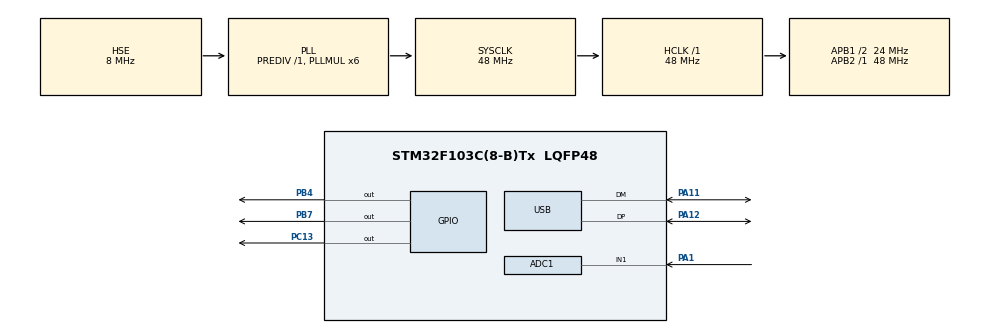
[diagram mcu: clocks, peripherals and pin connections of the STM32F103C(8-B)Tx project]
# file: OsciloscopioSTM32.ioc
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ADC1.Channel-3\#ChannelRegularConversion=ADC_CHANNEL_1
ADC1.ContinuousConvMode=ENABLE
ADC1.DataAlign=ADC_DATAALIGN_RIGHT
ADC1.EnableInjectedConversion=DISABLE
ADC1.ExternalTrigConv=ADC_SOFTWARE_START
ADC1.NbrOfConversion=1
ADC1.NbrOfConversionFlag=1
ADC1.Rank-3\#ChannelRegularConversion=1
ADC1.SamplingTime-3\#ChannelRegularConversion=ADC_SAMPLETIME_13CYCLES_5
ADC1.master=1
Dma.ADC1.0.Direction=DMA_PERIPH_TO_MEMORY
Dma.ADC1.0.Instance=DMA1_Channel1
Dma.ADC1.0.MemDataAlignment=DMA_MDATAALIGN_HALFWORD
Dma.ADC1.0.MemInc=DMA_MINC_ENABLE
Dma.ADC1.0.Mode=DMA_CIRCULAR
Dma.ADC1.0.PeriphDataAlignment=DMA_PDATAALIGN_HALFWORD
Dma.ADC1.0.PeriphInc=DMA_PINC_DISABLE
Dma.ADC1.0.Priority=DMA_PRIORITY_LOW
Dma.Request0=ADC1
Mcu.Family=STM32F1
Mcu.Name=STM32F103C(8-B)Tx
Mcu.Package=LQFP48
NVIC.DMA1_Channel1_IRQn=true\:0\:0\:false\:false\:true\:false\:true
NVIC.PriorityGroup=NVIC_PRIORITYGROUP_4
NVIC.TIM2_IRQn=true\:0\:0\:false\:false\:true\:true\:true
NVIC.USB_LP_CAN1_RX0_IRQn=true\:0\:0\:false\:false\:true\:false\:true
PA1.Signal=ADCx_IN1
PA11.Mode=Device
PA11.Signal=USB_DM
PA12.Mode=Device
PA12.Signal=USB_DP
PA13.Mode=Serial_Wire
PA13.Signal=SYS_JTMS-SWDIO
PA14.Mode=Serial_Wire
PA14.Signal=SYS_JTCK-SWCLK
PB4.Signal=GPIO_Output
PB7.Signal=GPIO_Output
PC13-TAMPER-RTC.GPIO_Speed=GPIO_SPEED_FREQ_HIGH
PC13-TAMPER-RTC.PinState=GPIO_PIN_SET
PC13-TAMPER-RTC.Signal=GPIO_Output
PD0-OSC_IN.Mode=HSE-External-Oscillator
PD0-OSC_IN.Signal=RCC_OSC_IN
PD1-OSC_OUT.Mode=HSE-External-Oscillator
PD1-OSC_OUT.Signal=RCC_OSC_OUT
ProjectManager.HeapSize=0x200
ProjectManager.StackSize=0x400
ProjectManager.TargetToolchain=STM32CubeIDE
RCC.ADCPresc=RCC_ADCPCLK2_DIV4
RCC.AHBFreq_Value=48000000
RCC.APB1CLKDivider=RCC_HCLK_DIV2
RCC.APB1Freq_Value=24000000
RCC.APB1TimFreq_Value=48000000
RCC.APB2Freq_Value=48000000
RCC.APB2TimFreq_Value=48000000
RCC.FLatency-AdvancedSettings=FLASH_LATENCY_1
RCC.HCLKFreq_Value=48000000
RCC.PLLMUL=RCC_PLL_MUL6
RCC.SYSCLKFreq_VALUE=48000000
RCC.SYSCLKSource=RCC_SYSCLKSOURCE_PLLCLK
RCC.USBFreq_Value=48000000
SH.ADCx_IN1.0=ADC1_IN1,IN1
TIM2.AutoReloadPreload=TIM_AUTORELOAD_PRELOAD_ENABLE
TIM2.Period=39
TIM2.Prescaler=48000
USB_DEVICE.CLASS_NAME_FS=CDC
USB_DEVICE.MANUFACTURER_STRING=Medidas 2
USB_DEVICE.PRODUCT_STRING_CDC_FS=Oscilocopio ComPort
USB_DEVICE.VirtualMode=Cdc
USB_DEVICE.VirtualModeFS=Cdc_FS
VP_TIM2_VS_ClockSourceINT.Mode=Internal
VP_USB_DEVICE_VS_USB_DEVICE_CDC_FS.Mode=CDC_FS
board=custom

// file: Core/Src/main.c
/* USER CODE BEGIN Header */
/**
  ******************************************************************************
  * @file           : main.c
  * @brief          : Main program body
  ******************************************************************************
  * @attention
  *
  * <h2><center>&copy; Copyright (c) 2020 STMicroelectronics.
  * All rights reserved.</center></h2>
  *
  * This software component is licensed by ST under BSD 3-Clause license,
  * the "License"; You may not use this file except in compliance with the
  * License. You may obtain a copy of the License at:
  *                        opensource.org/licenses/BSD-3-Clause
  *
  ******************************************************************************
  */
/* USER CODE END Header */
#include "main.h"
#include "usb_device.h"

/* USER CODE BEGIN PTD */
#define  FIFO_SIZE 64  // must be 2^N
#define FIFO_INCR(x) (((x)+1)&((FIFO_SIZE)-1))

/* Structure of FIFO */
typedef struct FIFO
{
	uint32_t head;
	uint32_t tail;
		uint8_t data[FIFO_SIZE];
} FIFO;
/* USER CODE END PTD */

/* USER CODE BEGIN PD */
#define NUM_SAMPLES 5000
#define NUM_SAMPLES_PLUS_ONE (NUM_SAMPLES + 1)
#define RX_DATA_BYTES 4
/* USER CODE END PD */

ADC_HandleTypeDef hadc1;
DMA_HandleTypeDef hdma_adc1;

TIM_HandleTypeDef htim2;

/* USER CODE BEGIN PV */
uint16_t adcSamples[NUM_SAMPLES_PLUS_ONE];
uint16_t triggerLevel;
uint32_t time;
uint8_t mode = 0; //1:MODO LIBRE, 2:MODO TRIGGER

FIFO RX_FIFO = {.head=0, .tail=0};
uint8_t rxBuffer[RX_DATA_BYTES];
/* USER CODE END PV */

void SystemClock_Config(void);
static void MX_GPIO_Init(void);
static void MX_DMA_Init(void);
static void MX_ADC1_Init(void);
static void MX_TIM2_Init(void);
/* USER CODE BEGIN PFP */

uint8_t VCP_read(uint8_t* Buf, uint32_t Len) {
	uint32_t count=0;
	/* Check inputs */
	if ((Buf == NULL) || (Len == 0))
		return 0;

	while (Len--) {
		if (RX_FIFO.head==RX_FIFO.tail)
			return count;
		count++;
		*Buf++=RX_FIFO.data[RX_FIFO.tail];
		RX_FIFO.tail=FIFO_INCR(RX_FIFO.tail);
	}

	return count;
}

void HAL_TIM_PeriodElapsedCallback(TIM_HandleTypeDef *htim) {
	HAL_GPIO_WritePin(GPIOC, GPIO_PIN_13, GPIO_PIN_RESET);
	CDC_Transmit_FS((uint8_t *)adcSamples, NUM_SAMPLES_PLUS_ONE*2);
	HAL_GPIO_WritePin(GPIOC, GPIO_PIN_13, GPIO_PIN_SET);
}

/* USER CODE END PFP */

int main(void)
{
  /* USER CODE BEGIN 1 */
  adcSamples[NUM_SAMPLES] = (uint16_t)'\n';
  /* USER CODE END 1 */

  /* MCU Configuration--------------------------------------------------------*/

  /* Reset of all peripherals, Initializes the Flash interface and the Systick. */
  HAL_Init();

  /* Configure the system clock */
  SystemClock_Config();

  /* Initialize all configured peripherals */
  MX_GPIO_Init();
  MX_DMA_Init();
  MX_ADC1_Init();
  MX_TIM2_Init();
  MX_USB_DEVICE_Init();
  /* USER CODE BEGIN 2 */

  HAL_ADC_Start_DMA(&hadc1, (uint32_t *)adcSamples, NUM_SAMPLES);

  time = HAL_GetTick();
  /* USER CODE END 2 */

  /* Infinite loop */
  /* USER CODE BEGIN WHILE */
  while (1)
  {
	VCP_read(rxBuffer, RX_DATA_BYTES);

	if (rxBuffer[RX_DATA_BYTES - 2] == '\n' || rxBuffer[RX_DATA_BYTES - 1] == '\n') {
		switch(rxBuffer[0]){
			case '1': //MODO LIBRE
				HAL_TIM_Base_Start_IT(&htim2);
				mode = 1;
				break;
			case '2': //MODO TRIGGER
				triggerLevel = ((uint16_t)rxBuffer[2] << 8) | rxBuffer[1];
				HAL_TIM_Base_Stop(&htim2);
				mode = 2;
				time = HAL_GetTick();
				break;
			case '3':
				HAL_GPIO_WritePin(GPIOB, GPIO_PIN_4, (rxBuffer[1])? 1 : 0);
				break;
			case '4':
				HAL_GPIO_WritePin(GPIOB, GPIO_PIN_7, (rxBuffer[1])? 1 : 0);
			case '5':
				HAL_TIM_Base_Stop(&htim2);
				break;
			default:
				break;
		}
		for (int i=0; i<RX_DATA_BYTES; i++)
			rxBuffer[i] = 0;
	}

	//MODO LIBRE
	if (mode == 2 && HAL_GetTick() >= (time + 40)) {
		if (adcSamples[(uint16_t)(NUM_SAMPLES/2)] >= triggerLevel){
			CDC_Transmit_FS((uint8_t *)adcSamples, NUM_SAMPLES_PLUS_ONE*2);
			time = HAL_GetTick();
		}
	}
  }
    /* USER CODE END WHILE */

}

void SystemClock_Config(void)
{
  RCC_OscInitTypeDef RCC_OscInitStruct = {0};
  RCC_ClkInitTypeDef RCC_ClkInitStruct = {0};
  RCC_PeriphCLKInitTypeDef PeriphClkInit = {0};

  /** Initializes the RCC Oscillators according to the specified parameters
  * in the RCC_OscInitTypeDef structure.
  */
  RCC_OscInitStruct.OscillatorType = RCC_OSCILLATORTYPE_HSE;
  RCC_OscInitStruct.HSEState = RCC_HSE_ON;
  RCC_OscInitStruct.HSEPredivValue = RCC_HSE_PREDIV_DIV1;
  RCC_OscInitStruct.HSIState = RCC_HSI_ON;
  RCC_OscInitStruct.PLL.PLLState = RCC_PLL_ON;
  RCC_OscInitStruct.PLL.PLLSource = RCC_PLLSOURCE_HSE;
  RCC_OscInitStruct.PLL.PLLMUL = RCC_PLL_MUL6;
  if (HAL_RCC_OscConfig(&RCC_OscInitStruct) != HAL_OK)
  {
    Error_Handler();
  }
  /** Initializes the CPU, AHB and APB buses clocks
  */
  RCC_ClkInitStruct.ClockType = RCC_CLOCKTYPE_HCLK|RCC_CLOCKTYPE_SYSCLK
                              |RCC_CLOCKTYPE_PCLK1|RCC_CLOCKTYPE_PCLK2;
  RCC_ClkInitStruct.SYSCLKSource = RCC_SYSCLKSOURCE_PLLCLK;
  RCC_ClkInitStruct.AHBCLKDivider = RCC_SYSCLK_DIV1;
  RCC_ClkInitStruct.APB1CLKDivider = RCC_HCLK_DIV2;
  RCC_ClkInitStruct.APB2CLKDivider = RCC_HCLK_DIV1;

  if (HAL_RCC_ClockConfig(&RCC_ClkInitStruct, FLASH_LATENCY_1) != HAL_OK)
  {
    Error_Handler();
  }
  PeriphClkInit.PeriphClockSelection = RCC_PERIPHCLK_ADC|RCC_PERIPHCLK_USB;
  PeriphClkInit.AdcClockSelection = RCC_ADCPCLK2_DIV4;
  PeriphClkInit.UsbClockSelection = RCC_USBCLKSOURCE_PLL;
  if (HAL_RCCEx_PeriphCLKConfig(&PeriphClkInit) != HAL_OK)
  {
    Error_Handler();
  }
}

static void MX_ADC1_Init(void)
{

  ADC_ChannelConfTypeDef sConfig = {0};

  /** Common config
  */
  hadc1.Instance = ADC1;
  hadc1.Init.ScanConvMode = ADC_SCAN_DISABLE;
  hadc1.Init.ContinuousConvMode = ENABLE;
  hadc1.Init.DiscontinuousConvMode = DISABLE;
  hadc1.Init.ExternalTrigConv = ADC_SOFTWARE_START;
  hadc1.Init.DataAlign = ADC_DATAALIGN_RIGHT;
  hadc1.Init.NbrOfConversion = 1;
  if (HAL_ADC_Init(&hadc1) != HAL_OK)
  {
    Error_Handler();
  }
  /** Configure Regular Channel
  */
  sConfig.Channel = ADC_CHANNEL_1;
  sConfig.Rank = ADC_REGULAR_RANK_1;
  sConfig.SamplingTime = ADC_SAMPLETIME_13CYCLES_5;
  if (HAL_ADC_ConfigChannel(&hadc1, &sConfig) != HAL_OK)
  {
    Error_Handler();
  }

}

static void MX_TIM2_Init(void)
{

  TIM_ClockConfigTypeDef sClockSourceConfig = {0};
  TIM_MasterConfigTypeDef sMasterConfig = {0};

  htim2.Instance = TIM2;
  htim2.Init.Prescaler = 48000;
  htim2.Init.CounterMode = TIM_COUNTERMODE_UP;
  htim2.Init.Period = 39;
  htim2.Init.ClockDivision = TIM_CLOCKDIVISION_DIV1;
  htim2.Init.AutoReloadPreload = TIM_AUTORELOAD_PRELOAD_ENABLE;
  if (HAL_TIM_Base_Init(&htim2) != HAL_OK)
  {
    Error_Handler();
  }
  sClockSourceConfig.ClockSource = TIM_CLOCKSOURCE_INTERNAL;
  if (HAL_TIM_ConfigClockSource(&htim2, &sClockSourceConfig) != HAL_OK)
  {
    Error_Handler();
  }
  sMasterConfig.MasterOutputTrigger = TIM_TRGO_RESET;
  sMasterConfig.MasterSlaveMode = TIM_MASTERSLAVEMODE_DISABLE;
  if (HAL_TIMEx_MasterConfigSynchronization(&htim2, &sMasterConfig) != HAL_OK)
  {
    Error_Handler();
  }

}

static void MX_DMA_Init(void)
{

  /* DMA controller clock enable */
  __HAL_RCC_DMA1_CLK_ENABLE();

  /* DMA interrupt init */
  /* DMA1_Channel1_IRQn interrupt configuration */
  HAL_NVIC_SetPriority(DMA1_Channel1_IRQn, 0, 0);
  HAL_NVIC_EnableIRQ(DMA1_Channel1_IRQn);

}

static void MX_GPIO_Init(void)
{
  GPIO_InitTypeDef GPIO_InitStruct = {0};

  /* GPIO Ports Clock Enable */
  __HAL_RCC_GPIOC_CLK_ENABLE();
  __HAL_RCC_GPIOD_CLK_ENABLE();
  __HAL_RCC_GPIOA_CLK_ENABLE();
  __HAL_RCC_GPIOB_CLK_ENABLE();

  /*Configure GPIO pin Output Level */
  HAL_GPIO_WritePin(GPIOC, GPIO_PIN_13, GPIO_PIN_SET);

  /*Configure GPIO pin Output Level */
  HAL_GPIO_WritePin(GPIOB, GPIO_PIN_4|GPIO_PIN_7, GPIO_PIN_RESET);

  /*Configure GPIO pin : PC13 */
  GPIO_InitStruct.Pin = GPIO_PIN_13;
  GPIO_InitStruct.Mode = GPIO_MODE_OUTPUT_PP;
  GPIO_InitStruct.Pull = GPIO_NOPULL;
  GPIO_InitStruct.Speed = GPIO_SPEED_FREQ_HIGH;
  HAL_GPIO_Init(GPIOC, &GPIO_InitStruct);

  /*Configure GPIO pins : PB4 PB7 */
  GPIO_InitStruct.Pin = GPIO_PIN_4|GPIO_PIN_7;
  GPIO_InitStruct.Mode = GPIO_MODE_OUTPUT_PP;
  GPIO_InitStruct.Pull = GPIO_NOPULL;
  GPIO_InitStruct.Speed = GPIO_SPEED_FREQ_LOW;
  HAL_GPIO_Init(GPIOB, &GPIO_InitStruct);

}

void Error_Handler(void)
{
  __disable_irq();
  while (1)
  {
  }
}

/************************ (C) COPYRIGHT STMicroelectronics *****END OF FILE****/
